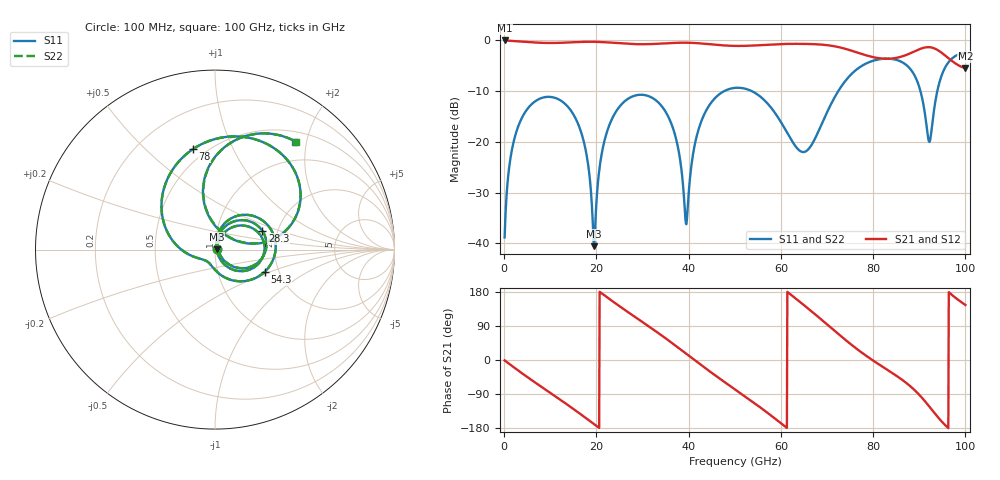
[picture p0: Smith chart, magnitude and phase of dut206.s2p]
! Touchstone file exported from HFSS 2026.1.0
!  File:  C:/ffzhzh/LocalFiles/Ansys_Project_Files/temp_train_TSV_RDL_206_1783659665_29156.aedt
!  Generated:  01:10:28 PM Jul 10, 2026
!  Design:  TSV_RDL
!  Project:  temp_train_TSV_RDL_206_1783659665_29156
! Variables:
!  h_bsmrdl = 4.1um
!  h_ox = 20um
!  h_rdl = 5um
!  h_sub = 91.94um
!  h_tmrdl = 4.58um
!  h_tsv = 91.94um
!  h_via = 3um
!  l_bsmrdl = 239.42um
!  l_sub = 2517.4um
!  l_tmrdl = 320.16um
!  m_sub = 200um
!  pitch = 44.11um
!  r_tsv = 14.89um
!  s_tmrdl = 10um
!  w_bsmrdl = 12.98um
!  w_sub = 500um
!  w_tmrdl = 26.52um
!  x_tsv_center1 = 333.42um
!  x_tsv_center2 = 585.82um
!  x_tsv_center3 = 932.5um
!  x_tsv_center4 = 1184.9um
!  x_tsv_center5 = 1531.58um
!  x_tsv_center6 = 1783.98um
# GHz S MA R 50.000000
! Terminal data exported
! Port[1] = TM_RDL1_1_T1
! Port[2] = TM_RDL5_1_T1
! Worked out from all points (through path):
!   1000 points, 100 MHz to 100 GHz, reference 50 ohm
!   highest |S21| = -0.09 dB at 100 MHz (marker M1); lowest = -5.5 dB at 100 GHz (marker M2)
!   group delay of S21, straight-line fit = 25.5 ps
!   lowest |S11| = -40.6 dB at 19.5 GHz (marker M3), VSWR 1.02, Z = 50.9 + j0.155 ohm
!   |S11| at or under -10 dB: start of sweep to 47.82 GHz; 53.56 GHz to 72.47 GHz (18.91 GHz wide, 30 % of centre); 90.24 GHz to 93.92 GHz (3.681 GHz wide, 4 % of centre)
!   |S22| runs from -40.9 to -2.5 dB; largest |S21 - S12| = 5.6e-14
!   S11 on the Smith chart (normalised r, x): 100 MHz: 1.02, +0.01; 28.3 GHz: 1.66, +0.38; 54.3 GHz: 1.69, -0.46; 78 GHz: 0.43, +0.71; 100 GHz: 0.65, +1.81
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0.1  0.01143 29.7  0.9901 -1.0  0.9901 -1.0  0.01143 29.7
! Gamma 0 0 0 0
! Port Impedance 50 0 50 0
1.9  0.0929 63.5  0.9811 -17.5  0.9811 -17.5  0.0929 63.5
5.4  0.2198 36.6  0.9543 -48.2  0.9543 -48.2  0.2198 36.6
16.8  0.1194 -54.1  0.958 -144.9  0.958 -144.9  0.1194 -54.2
19.5  0.009381 9.3  0.9604 -169.2  0.9604 -169.2  0.009038 9.1
22.3  0.1252 69.0  0.9485 165.7  0.9485 165.7  0.1251 69.2
28.3  0.2835 21.6  0.9114 114.2  0.9114 114.2  0.2834 21.7
33.4  0.2439 -19.0  0.9191 71.3  0.9191 71.3  0.2438 -18.7
37.2  0.1099 -47.3  0.9385 37.5  0.9385 37.5  0.1099 -46.8
39.5  0.01541 19.9  0.9411 16.3  0.9411 16.3  0.0162 20.1
42.9  0.1655 68.3  0.9237 -15.1  0.9237 -15.1  0.1656 68.1
50.1  0.3385 10.5  0.8753 -77.9  0.8753 -77.9  0.3384 10.6
54.3  0.3037 -23.9  0.8841 -114.1  0.8841 -114.1  0.3036 -23.8
60.9  0.1332 -81.6  0.9151 -175.3  0.9151 -175.3  0.1331 -81.3
66.7  0.09375 -145.8  0.9119 127.8  0.9119 127.8  0.09373 -145.7
71.5  0.2654 163.2  0.87 78.6  0.87 78.6  0.2656 163.1
78  0.5724 102.6  0.7179 15.4  0.7179 15.4  0.5727 102.5
83.4  0.6549 61.4  0.6544 -28.5  0.6544 -28.5  0.6552 61.4
89  0.4464 18.2  0.7748 -79.6  0.7748 -79.6  0.4467 18.3
92.2  0.09944 56.5  0.85 -123.2  0.85 -123.2  0.1015 56.5
95.2  0.4914 92.1  0.7284 -166.6  0.7284 -166.6  0.492 91.9
100  0.7505 53.3  0.5285 145.1  0.5285 145.1  0.7509 53.2
